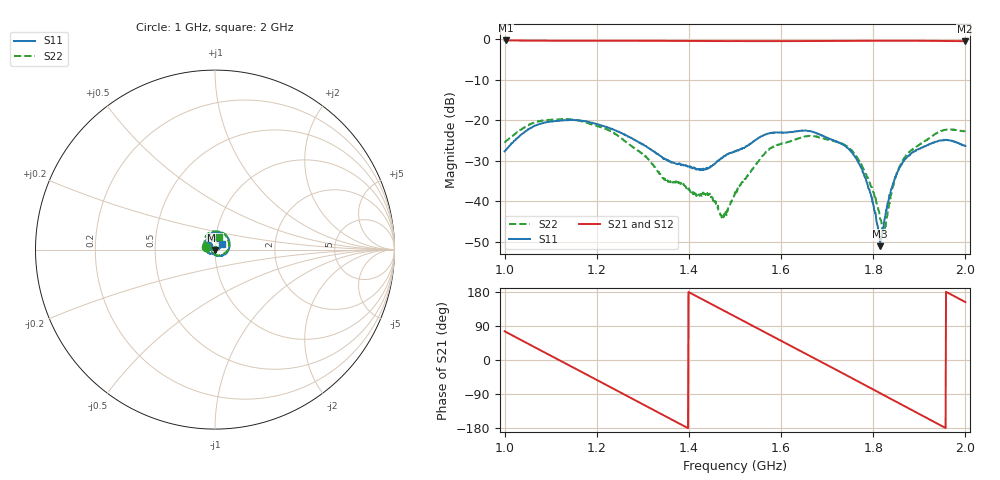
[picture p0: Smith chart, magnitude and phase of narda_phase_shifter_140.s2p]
#  HZ  S  DB  R  50.00
! Rohde & Schwarz Vector Network Analyzer
! Rohde-Schwarz,ZNB8-4Port,1311601044102961,2.82
! Created: UTC 3/4/2022, 4:07:27 PM
! freq[Hz]  db:S11  ang:S11  db:S21  ang:S21  db:S12  ang:S12  db:S22  ang:S22
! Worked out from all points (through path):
!   1001 points, 1 GHz to 2 GHz, reference 50 ohm
!   highest |S21| = -0.26 dB at 1.002 GHz (marker M1); lowest = -0.4 dB at 1.999 GHz (marker M2)
!   group delay of S21, straight-line fit = 1.78 ns
!   lowest |S11| = -51.1 dB at 1.815 GHz (marker M3), VSWR 1.01, Z = 50 - j0.277 ohm
!   |S11| at or under -10 dB: start of sweep to end of sweep
!   |S22| runs from -47.5 to -19.7 dB; largest |S21 - S12| = 0.0023
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1e9  -27.67 152.8  -0.27 75.7  -0.25 75.8  -25.53 165.3
1.002e9  -27.39 151.7  -0.26 74.5  -0.25 74.5  -25.24 163.6
1.089e9  -20.54 99.5  -0.32 18.5  -0.31 18.5  -19.99 103.0
1.167e9  -20.12 47.2  -0.34 -31.4  -0.33 -31.4  -20.22 49.5
1.252e9  -23.12 -11.1  -0.35 -86.0  -0.33 -86.0  -24.31 -15.4
1.334e9  -28.38 -68.0  -0.36 -138.8  -0.36 -138.8  -32.88 -102.5
1.414e9  -31.85 -109.4  -0.39 169.9  -0.38 169.9  -38.13 128.5
1.445e9  -31.65 -128.0  -0.40 149.9  -0.40 150.0  -38.12 68.8
1.473e9  -29.19 -138.4  -0.41 132.0  -0.40 132.0  -43.88 0.5
1.5e9  -27.63 -155.4  -0.41 114.7  -0.41 114.8  -37.82 -71.9
1.577e9  -23.13 155.7  -0.43 65.4  -0.42 65.5  -26.87 -164.4
1.667e9  -22.77 94.7  -0.41 7.8  -0.40 7.9  -23.86 131.8
1.759e9  -28.72 27.7  -0.36 -51.2  -0.35 -51.3  -28.29 71.6
1.792e9  -37.15 0.7  -0.34 -72.6  -0.33 -72.6  -35.33 58.2
1.815e9  -51.12 -85.3  -0.32 -87.5  -0.33 -87.4  -44.41 62.7
1.824e9  -44.86 -147.3  -0.33 -93.3  -0.33 -93.3  -46.68 111.9
1.834e9  -39.19 -175.0  -0.32 -99.8  -0.32 -99.8  -40.86 159.5
1.852e9  -32.95 159.2  -0.33 -111.5  -0.32 -111.4  -32.87 168.7
1.876e9  -28.89 135.6  -0.33 -127.1  -0.33 -127.0  -28.24 159.8
1.939e9  -25.19 92.5  -0.38 -167.9  -0.37 -167.8  -23.08 115.3
1.999e9  -26.35 38.7  -0.44 153.5  -0.43 153.5  -22.72 72.4
2e9  -26.33 37.3  -0.44 152.8  -0.43 152.8  -22.67 71.4
